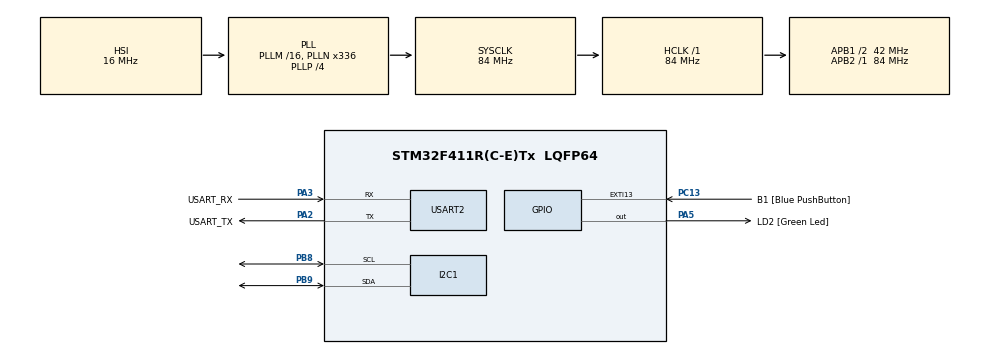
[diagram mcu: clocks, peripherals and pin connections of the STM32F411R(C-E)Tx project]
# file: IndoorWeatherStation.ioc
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Dma.I2C1_TX.0.Direction=DMA_MEMORY_TO_PERIPH
Dma.I2C1_TX.0.FIFOMode=DMA_FIFOMODE_DISABLE
Dma.I2C1_TX.0.Instance=DMA1_Stream1
Dma.I2C1_TX.0.MemDataAlignment=DMA_MDATAALIGN_BYTE
Dma.I2C1_TX.0.MemInc=DMA_MINC_ENABLE
Dma.I2C1_TX.0.Mode=DMA_NORMAL
Dma.I2C1_TX.0.PeriphDataAlignment=DMA_PDATAALIGN_BYTE
Dma.I2C1_TX.0.PeriphInc=DMA_PINC_DISABLE
Dma.I2C1_TX.0.Priority=DMA_PRIORITY_LOW
Dma.Request0=I2C1_TX
Mcu.Family=STM32F4
Mcu.Name=STM32F411R(C-E)Tx
Mcu.Package=LQFP64
NVIC.DMA1_Stream1_IRQn=true\:0\:0\:false\:false\:true\:false\:true\:true
NVIC.I2C1_EV_IRQn=true\:0\:0\:false\:true\:true\:1\:true\:true\:true
NVIC.PriorityGroup=NVIC_PRIORITYGROUP_0
PA13.GPIO_Label=TMS
PA13.Mode=Serial_Wire
PA13.Signal=SYS_JTMS-SWDIO
PA14.GPIO_Label=TCK
PA14.Mode=Serial_Wire
PA14.Signal=SYS_JTCK-SWCLK
PA2.GPIO_Label=USART_TX
PA2.Mode=Asynchronous
PA2.Signal=USART2_TX
PA3.GPIO_Label=USART_RX
PA3.Mode=Asynchronous
PA3.Signal=USART2_RX
PA5.GPIO_Label=LD2 [Green Led]
PA5.Signal=GPIO_Output
PB3.GPIO_Label=SWO
PB3.Signal=SYS_JTDO-SWO
PB8.Mode=I2C
PB8.Signal=I2C1_SCL
PB9.Mode=I2C
PB9.Signal=I2C1_SDA
PC13-ANTI_TAMP.GPIO_Label=B1 [Blue PushButton]
PC13-ANTI_TAMP.GPIO_ModeDefaultEXTI=GPIO_MODE_IT_FALLING
PC13-ANTI_TAMP.Signal=GPXTI13
PC14-OSC32_IN.Mode=LSE-External-Oscillator
PC14-OSC32_IN.Signal=RCC_OSC32_IN
PC15-OSC32_OUT.Mode=LSE-External-Oscillator
PC15-OSC32_OUT.Signal=RCC_OSC32_OUT
PH0\ -\ OSC_IN.Mode=HSE-External-Clock-Source
PH0\ -\ OSC_IN.Signal=RCC_OSC_IN
PH1\ -\ OSC_OUT.Mode=HSE-External-Clock-Source
PH1\ -\ OSC_OUT.Signal=RCC_OSC_OUT
ProjectManager.HeapSize=0x200
ProjectManager.StackSize=0x400
ProjectManager.TargetToolchain=STM32CubeIDE
RCC.48MHZClocksFreq_Value=84000000
RCC.AHBFreq_Value=84000000
RCC.APB1CLKDivider=RCC_HCLK_DIV2
RCC.APB1Freq_Value=42000000
RCC.APB1TimFreq_Value=84000000
RCC.APB2Freq_Value=84000000
RCC.APB2TimFreq_Value=84000000
RCC.CortexFreq_Value=84000000
RCC.FLatency-AdvancedSettings=FLASH_LATENCY_2
RCC.HCLKFreq_Value=84000000
RCC.HSE_VALUE=8000000
RCC.HSI_VALUE=16000000
RCC.PLLN=336
RCC.PLLP=RCC_PLLP_DIV4
RCC.SYSCLKFreq_VALUE=84000000
RCC.SYSCLKSource=RCC_SYSCLKSOURCE_PLLCLK
RCC.VCOOutputFreq_Value=336000000
USART2.VirtualMode=VM_ASYNC
board=NUCLEO-F411RE

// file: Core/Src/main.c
/* USER CODE BEGIN Header */
/**
  ******************************************************************************
  * @file           : main.c
  * @brief          : Main program body
  ******************************************************************************
  * @attention
  *
  * Copyright (c) 2023 STMicroelectronics.
  * All rights reserved.
  *
  * This software is licensed under terms that can be found in the LICENSE file
  * in the root directory of this software component.
  * If no LICENSE file comes with this software, it is provided AS-IS.
  *
  ******************************************************************************
  */
/* USER CODE END Header */
#include "main.h"
#include "dma.h"
#include "i2c.h"
#include "usart.h"
#include "gpio.h"

/* USER CODE BEGIN Includes */
#include "stdio.h"
#include "bmp280.h"
#include "SSD1306_OLED.h"
#include "GFX_BW.h"
#include "fonts/fonts.h"
/* USER CODE END Includes */

/* USER CODE BEGIN PV */
BMP280_t Bmp280;
uint32_t SoftTimerBMP;
uint32_t SoftTimerSSD;

float Pressure, Temperature;

char Message[32];

/* USER CODE END PV */

void SystemClock_Config(void);
static void MX_NVIC_Init(void);

/* USER CODE BEGIN 0 */
void DataDisplay() {
	if((HAL_GetTick() - SoftTimerBMP) > 10) {
		  SoftTimerBMP = HAL_GetTick();

		  if(Bmp280.bmp_i2c->State == HAL_I2C_STATE_READY) {
			  BMP280_ReadPressureAndTemperature(&Bmp280, &Pressure, &Temperature);
		  }
	}

	if((HAL_GetTick() - SoftTimerSSD) > 1000) {
		  SoftTimerSSD = HAL_GetTick();

		  sprintf(Message, "Press: %.2f", Pressure);
		  GFX_DrawString(1, 1, Message, WHITE, 0);

		  sprintf(Message, "Temp: %.2f", Temperature);
		  GFX_DrawString(1, 12, Message, WHITE, 0);

		  SSD1306_Display();
	}
}
/* USER CODE END 0 */

int main(void)
{

  /* MCU Configuration--------------------------------------------------------*/

  /* Reset of all peripherals, Initializes the Flash interface and the Systick. */
  HAL_Init();

  /* Configure the system clock */
  SystemClock_Config();

  /* Initialize all configured peripherals */
  MX_GPIO_Init();
  MX_DMA_Init();
  MX_USART2_UART_Init();
  MX_I2C1_Init();

  /* Initialize interrupts */
  MX_NVIC_Init();
  /* USER CODE BEGIN 2 */
  BMP280_Init(&Bmp280, &hi2c1, 0x76);
  SSD1306_Init(&hi2c1);
  GFX_SetFont(font_8x5);
  SSD1306_Clear(BLACK);

  SSD1306_Display();

  SoftTimerBMP = HAL_GetTick();
  SoftTimerSSD = HAL_GetTick();
  /* USER CODE END 2 */

  /* Infinite loop */
  /* USER CODE BEGIN WHILE */
  while (1)
  {
	  DataDisplay();
    /* USER CODE END WHILE */

  }
}

void SystemClock_Config(void)
{
  RCC_OscInitTypeDef RCC_OscInitStruct = {0};
  RCC_ClkInitTypeDef RCC_ClkInitStruct = {0};

  /** Configure the main internal regulator output voltage
  */
  __HAL_RCC_PWR_CLK_ENABLE();
  __HAL_PWR_VOLTAGESCALING_CONFIG(PWR_REGULATOR_VOLTAGE_SCALE1);

  /** Initializes the RCC Oscillators according to the specified parameters
  * in the RCC_OscInitTypeDef structure.
  */
  RCC_OscInitStruct.OscillatorType = RCC_OSCILLATORTYPE_HSI;
  RCC_OscInitStruct.HSIState = RCC_HSI_ON;
  RCC_OscInitStruct.HSICalibrationValue = RCC_HSICALIBRATION_DEFAULT;
  RCC_OscInitStruct.PLL.PLLState = RCC_PLL_ON;
  RCC_OscInitStruct.PLL.PLLSource = RCC_PLLSOURCE_HSI;
  RCC_OscInitStruct.PLL.PLLM = 16;
  RCC_OscInitStruct.PLL.PLLN = 336;
  RCC_OscInitStruct.PLL.PLLP = RCC_PLLP_DIV4;
  RCC_OscInitStruct.PLL.PLLQ = 4;
  if (HAL_RCC_OscConfig(&RCC_OscInitStruct) != HAL_OK)
  {
    Error_Handler();
  }

  /** Initializes the CPU, AHB and APB buses clocks
  */
  RCC_ClkInitStruct.ClockType = RCC_CLOCKTYPE_HCLK|RCC_CLOCKTYPE_SYSCLK
                              |RCC_CLOCKTYPE_PCLK1|RCC_CLOCKTYPE_PCLK2;
  RCC_ClkInitStruct.SYSCLKSource = RCC_SYSCLKSOURCE_PLLCLK;
  RCC_ClkInitStruct.AHBCLKDivider = RCC_SYSCLK_DIV1;
  RCC_ClkInitStruct.APB1CLKDivider = RCC_HCLK_DIV2;
  RCC_ClkInitStruct.APB2CLKDivider = RCC_HCLK_DIV1;

  if (HAL_RCC_ClockConfig(&RCC_ClkInitStruct, FLASH_LATENCY_2) != HAL_OK)
  {
    Error_Handler();
  }
}

/**
  * @brief NVIC Configuration.
  * @retval None
  */
static void MX_NVIC_Init(void)
{
  /* I2C1_EV_IRQn interrupt configuration */
  HAL_NVIC_SetPriority(I2C1_EV_IRQn, 0, 0);
  HAL_NVIC_EnableIRQ(I2C1_EV_IRQn);
}

void Error_Handler(void)
{
  __disable_irq();
  while (1)
  {
  }
}
